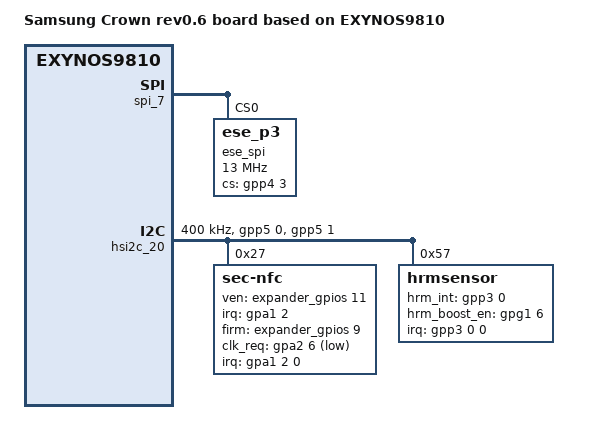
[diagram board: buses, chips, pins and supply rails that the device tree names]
/*
 * SAMSUNG EXYNOS9810 board device tree source
 *
 * Copyright (c) 2017 Samsung Electronics Co., Ltd.
 *		http://www.samsung.com
 *
 * This program is free software; you can redistribute it and/or modify
 * it under the terms of the GNU General Public License version 2 as
 * published by the Free Software Foundation.
 */

/dts-v1/;
#include "exynos9810-crownlte_common.dtsi"
#include "battery_data_crownlte_eur_23.dtsi"
#include "exynos9810-crownlte_fingerprint_19.dtsi"
#include "exynos9810-starlte_mst_01.dtsi"
#include "exynos9810-starlte_if-pmic-max77705.dtsi"
#include "exynos9810-crownlte_eur_open_gpio_01.dtsi"

/ {
	model = "Samsung Crown rev0.6 board based on EXYNOS9810";
	model_info-chip = <9810>;
	model_info-platform = "android";
	model_info-subtype = "samsung";
	model_info-hw_rev = <26>;
	model_info-hw_rev_end = <255>;
	compatible = "Samsung, Crown rev0.6", "Samsung,EXYNOS9810";

	pinctrl@10830000 {
		spi7_bus_suspend: spi7-bus-suspend {
			samsung,pins = "gpp4-2", "gpp4-1", "gpp4-0";
			samsung,pin-function = <0>;	/* INPUT */
			samsung,pin-pud = <1>;		/* DOWN */
			samsung,pin-drv = <0>;
		};
		spi7_cs_suspend: spi7-cs-suspend {
			samsung,pins = "gpp4-3";
			samsung,pin-function = <0>;	/* INPUT */
			samsung,pin-pud = <1>;		/* DOWN */
			samsung,pin-drv = <0>;
		};
	};
	/* SPI USI_PERIC1_USI06_SPI */
	spi_7: spi@108A0000 {
		status = "okay";
		/delete-property/ pinctrl-names;
		/delete-property/ pinctrl-0;

		ese_spi@0 {
			compatible = "ese_p3";
			reg = <0>;
			spi-max-frequency = <13000000>;
			gpio-controller;
			#gpio-cells = <2>;

			p3-vdd-1p8= "VDD_ESE_1P8";

			clocks = <&clock GATE_USI06>, <&clock USI06>;
			clock-names = "pclk", "sclk";
			ese_p3,cs-gpio = <&gpp4 3 0>;

			pinctrl-names = "ese_active", "ese_suspend";
			pinctrl-0 = <&spi7_bus &spi7_cs>;
			pinctrl-1 = <&spi7_bus_suspend &spi7_cs_suspend>;

			controller-data {
				samsung,spi-feedback-delay = <0>;
				samsung,spi-chip-select-mode = <0>;
			};
		};
	};

	/* USI08_USI */
	hsi2c_20: hsi2c@108E0000 {
		gpios = <&gpp5 0 0 &gpp5 1 0>;
		status = "okay";
		clock-frequency = <400000>;
		sec-nfc@27 {
			compatible = "sec-nfc";
			reg = <0x27>;

			interrupts = <2 0 0>;
			interrupt-parent = <&gpa1>;

			sec-nfc,ven-gpio = <&expander_gpios 11 0>;
			sec-nfc,irq-gpio = <&gpa1 2 0>;
			sec-nfc,firm-gpio = <&expander_gpios 9 0>;
			sec-nfc,clk_req-gpio = <&gpa2 6 0xf>;
			sec-nfc,clk_use = <2>;
			sec-nfc,nfc_pvdd = "VDD_NFC_1P8";

			clocks = <&clock OSC_NFC>;
			clock-names = "oscclk_nfc";
			sec-nfc,nfc_ap_clk;
			sec-nfc,ldo_control;
		};

		hrmsensor@57 {
			compatible = "hrmsensor";
			reg = <0x57>;
			interrupt-parent = <&gpp3>;
			interrupts = <0 0 0>;
			pinctrl-names = "default", "sleep", "idle";
			pinctrl-0 = <&hrm_irq &hrm_en>;
			pinctrl-1 = <&hrm_irqsleep &hrm_ensleep>;
			pinctrl-2 = <&hrm_irqidle &hrm_enidle>;
			hrmsensor,hrm_int-gpio = <&gpp3 0 0>;
			hrmsensor,hrm_boost_en-gpio = <&gpg1 6 0>;
			hrmsensor,vdd_1p8 = "HRM_1.8V_AP";
			hrmsensor,i2c_1p8 = "VDD_NFC_1P8";
			hrmsensor,thd = <100000 100000>;
			hrmsensor,init_curr = <0x46 0x41 0x28 0x3c>;
		};
	};

	pinctrl@10430000 {
		hrm_en: hrm-en {
			samsung,pins = "gpg1-6";
			samsung,pin-function = <0>;
			samsung,pin-pud = <1>;
			samsung,pin-drv = <2>;
		};

		hrm_ensleep: hrm-ensleep {
			samsung,pins = "gpg1-6";
			samsung,pin-con-pdn = <2>;
			samsung,pin-pud-pdn = <1>;
		};

		hrm_enidle: hrm-enidle {
			samsung,pins = "gpg1-6";
			samsung,pin-function = <0>;
			samsung,pin-pud = <1>;
			samsung,pin-drv = <2>;
		};

		cfg_wlanen: cfg_wlanen {
			samsung,pins = "gpg0-5";
			samsung,pin-function = <1>;
			samsung,pin-pud = <0>;
			samsung,pin-drv = <3>;
			samsung,pin-con-pdn = <3>;
		};
	};

	spi_20: spi@13AC0000{
		#address-cells = <1>;
		#size-cells = <0>;

			port@0 {
				reg = <0>;

				endpoint@0 {
					slave-mode;
					remote-endpoint = <43>;
					linux,phandle = <48>;
					phandle = <48>;
				};
			};

			port@1 {
				reg = <0>;

				endpoint@0 {
					remote-endpoint = <44>;
					linux,phandle = <59>;
					phandle = <59>;
				};
			};
		};
	};

	etf1@1e005000 {
		compatible = "arm,coresight-tmc", "arm,primecell";
		arm,primecell-periphid = <1816929>;
		reg = <0 503336960 4096>;
		clocks = <26 1>;
		clock-names = "apb_pclk";

		ports {
			#address-cells = <1>;
			#size-cells = <0>;

			port@0 {
				reg = <0>;

				endpoint@0 {
					slave-mode;
					remote-endpoint = <45>;
					linux,phandle = <53>;
					phandle = <53>;
				};
			};

			port@1 {
				reg = <0>;

				endpoint@0 {
					remote-endpoint = <46>;
					linux,phandle = <60>;
					phandle = <60>;
				};
			};
		};
	};

	etr@1e00a000 {
		compatible = "arm,coresight-tmc", "arm,primecell";
		arm,primecell-periphid = <1816930>;
		reg = <0 503357440 4096>;
		clocks = <26 1>;
		clock-names = "apb_pclk";
		samsung,cs-sfr = <503365632 256>;
		samsung,q-offset = <44>;

		port {

			endpoint {
				slave-mode;
				remote-endpoint = <47>;
				linux,phandle = <58>;
				phandle = <58>;
			};
		};
	};

	funnel0@1e007000 {
		compatible = "arm,coresight-funnel", "arm,primecell";
		arm,primecell-periphid = <1816840>;
		reg = <0 503345152 4096>;
		clocks = <26 1>;
		clock-names = "apb_pclk";

		ports {
			#address-cells = <1>;
			#size-cells = <0>;

			port@0 {
				reg = <0>;

				endpoint {
					remote-endpoint = <48>;
					linux,phandle = <43>;
					phandle = <43>;
				};
			};

			port@1 {
				reg = <0>;

				endpoint {
					slave-mode;
					remote-endpoint = <49>;
					linux,phandle = <36>;
					phandle = <36>;
				};
			};

			port@2 {
				reg = <1>;

				endpoint {
					slave-mode;
					remote-endpoint = <50>;
					linux,phandle = <38>;
					phandle = <38>;
				};
			};

			port@3 {
				reg = <2>;

				endpoint {
					slave-mode;
					remote-endpoint = <51>;
					linux,phandle = <40>;
					phandle = <40>;
				};
			};

			port@4 {
				reg = <3>;

				endpoint {
					slave-mode;
					remote-endpoint = <52>;
					linux,phandle = <42>;
					phandle = <42>;
				};
			};
		};
	};

	funnel1@1e008000 {
		compatible = "arm,coresight-funnel", "arm,primecell";
		arm,primecell-periphid = <1816840>;
		reg = <0 503349248 4096>;
		clocks = <26 1>;
		clock-names = "apb_pclk";

		ports {
			#address-cells = <1>;
			#size-cells = <0>;

			port@0 {
				reg = <0>;

				endpoint {
					remote-endpoint = <53>;
					linux,phandle = <45>;
					phandle = <45>;
				};
			};

			port@1 {
				reg = <0>;

				endpoint {
					slave-mode;
					remote-endpoint = <54>;
					linux,phandle = <28>;
					phandle = <28>;
				};
			};

			port@2 {
				reg = <1>;

				endpoint {
					slave-mode;
					remote-endpoint = <55>;
					linux,phandle = <30>;
					phandle = <30>;
				};
			};

			port@3 {
				reg = <2>;

				endpoint {
					slave-mode;
					remote-endpoint = <56>;
					linux,phandle = <32>;
					phandle = <32>;
				};
			};

			port@4 {
				reg = <3>;

				endpoint {
					slave-mode;
					remote-endpoint = <57>;
					linux,phandle = <34>;
					phandle = <34>;
				};
			};
		};
	};

	funnelm@1e009000 {
		compatible = "arm,coresight-funnel", "arm,primecell";
		reg = <0 503353344 4096>;
		arm,primecell-periphid = <1816840>;
		clocks = <26 1>;
		clock-names = "apb_pclk";

		ports {
			#address-cells = <1>;
			#size-cells = <0>;

			port@0 {
				reg = <0>;

				endpoint {
					remote-endpoint = <58>;
					linux,phandle = <47>;
					phandle = <47>;
				};
			};

			port@1 {
				reg = <0>;

				endpoint {
					slave-mode;
					remote-endpoint = <59>;
					linux,phandle = <44>;
					phandle = <44>;
				};
			};

			port@2 {
				reg = <1>;

				endpoint {
					slave-mode;
					remote-endpoint = <60>;
					linux,phandle = <46>;
					phandle = <46>;
				};
			};
		};
	};

	input_booster {
		status = "okay";
		compatible = "input_booster";
		max_resource_count = [37 00];
		#address-cells = <1>;
		#size-cells = <0>;
		ib_release_values = "0,0,0,0,0,0,0";

		booster_key@1 {
			input_booster,label = "key";
			input_booster,type = <0>;	/* BOOSTER_DEVICE_KEY */
			/* Time table */
			input_booster,head_time = <500>;
			input_booster,tail_time = <500>;

			/* Frequency table */
			/* for level	:	Head, Tail */
			inputbooster,resource {
				compatible = "resource";

				resource@1 {
					resource,label = "cluster1";
					resource,value = <1066000 0>;
				};

				resource@2 {
					resource,label = "cluster0";
					resource,value = <0 0>;
				};

				resource@3 {
					resource,label = "mif";
					resource,value = <0 0>;
				};

				resource@4 {
					resource,label = "int";
					resource,value = <0 0>;
				};

				resource@5 {
					resource,label = "hmp";
					resource,value = <1 0>;
				};

				resource@6 {
					resource,label = "ucc";
					resource,value = <1 0>;
				};
			};
		};
		booster_key@2 {
			input_booster,label = "touchkey";
			input_booster,type = <1>;	/* BOOSTER_DEVICE_TOUCHKEY */
			/* Time table */
			input_booster,head_time = <0>;
			input_booster,tail_time = <200>;

			/* Frequency table */
			/* for level	:	Head, Tail */
			inputbooster,resource {
				compatible = "resource";

				resource@1 {
					resource,label = "cluster1";
					resource,value = <1066000 0>;
				};

				resource@2 {
					resource,label = "cluster0";
					resource,value = <0 0>;
				};

				resource@3 {
					resource,label = "mif";
					resource,value = <0 0>;
				};

				resource@4 {
					resource,label = "int";
					resource,value = <0 0>;
				};

				resource@5 {
					resource,label = "hmp";
					resource,value = <1 0>;
				};

				resource@6 {
					resource,label = "ucc";
					resource,value = <1 0>;
				};
			};
		};
		booster_key@3 {
			input_booster,label = "touch";
			input_booster,type = <2>;	/* BOOSTER_DEVICE_TOUCH */
			/* Time table */
			input_booster,head_time = <130>;
			input_booster,tail_time = <500>;

			/* Frequency table */
			/* for level	:	Head, Tail */
			inputbooster,resource {
				compatible = "resource";

				resource@1 {
					resource,label = "cluster1";
					resource,value = <1066000 858000>;
				};

				resource@2 {
					resource,label = "cluster0";
					resource,value = <832000 832000>;
				};

				resource@3 {
					resource,label = "mif";
					resource,value = <0 0>;
				};

				resource@4 {
					resource,label = "int";
					resource,value = <0 0>;
				};

				resource@5 {
					resource,label = "hmp";
					resource,value = <1 1>;
				};

				resource@6 {
					resource,label = "ucc";
					resource,value = <1 1>;
				};
			};
		};
		booster_key@4 { // Input Booster +
			input_booster,label = "multitouch";
			input_booster,type = <3>;	/* BOOSTER_DEVICE_MULTITOUCH */
			/* Time table */
			input_booster,head_time = <1000>;
			input_booster,tail_time = <500>;

			/* Frequency table */
			/* for level	:	Head, Tail */
			inputbooster,resource {
				compatible = "resource";

				resource@1 {
					resource,label = "cluster1";
					resource,value = <1066000 858000>;
				};

				resource@2 {
					resource,label = "cluster0";
					resource,value = <832000 832000>;
				};

				resource@3 {
					resource,label = "mif";
					resource,value = <0 0>;
				};

				resource@4 {
					resource,label = "int";
					resource,value = <0 0>;
				};

				resource@5 {
					resource,label = "hmp";
					resource,value = <1 1>;
				};

				resource@6 {
					resource,label = "ucc";
					resource,value = <1 1>;
				};
			};
		};
		booster_key@5 {
			input_booster,label = "keyboard";
			input_booster,type = <4>;	/* BOOSTER_DEVICE_KEYBOARD */
			/* Time table */
			input_booster,head_time = <130>;
			input_booster,tail_time = <0>;

			/* Frequency table */
			/* for level	:	Head, Tail */
			inputbooster,resource {
				compatible = "resource";

				resource@1 {
					resource,label = "cluster1";
					resource,value = <1066000 858000>;
				};

				resource@2 {
					resource,label = "cluster0";
					resource,value = <832000 832000>;
				};

				resource@3 {
					resource,label = "mif";
					resource,value = <0 0>;
				};

				resource@4 {
					resource,label = "int";
					resource,value = <0 0>;
				};

				resource@5 {
					resource,label = "hmp";
					resource,value = <1 1>;
				};

				resource@6 {
					resource,label = "ucc";
					resource,value = <1 1>;
				};
			};
		};
		booster_key@6 {
			input_booster,label = "mouse";
			input_booster,type = <5>;	/* BOOSTER_DEVICE_MOUSE */
			/* Time table */
			input_booster,head_time = <130>;
			input_booster,tail_time = <500>;

			/* Frequency table */
			/* for level	:	Head, Tail */
			inputbooster,resource {
				compatible = "resource";

				resource@1 {
					resource,label = "cluster1";
					resource,value = <1066000 858000>;
				};

				resource@2 {
					resource,label = "cluster0";
					resource,value = <832000 832000>;
				};

				resource@3 {
					resource,label = "mif";
					resource,value = <0 0>;
				};

				resource@4 {
					resource,label = "int";
					resource,value = <0 0>;
				};

				resource@5 {
					resource,label = "hmp";
					resource,value = <1 1>;
				};

				resource@6 {
					resource,label = "ucc";
					resource,value = <1 1>;
				};
			};
		};
		booster_key@7 {
			input_booster,label = "mouse_wheel";
			input_booster,type = <6>;	/* BOOSTER_DEVICE_MOUSE */
			/* Time table */
			input_booster,head_time = <130>;
			input_booster,tail_time = <0>;

			/* Frequency table */
			/* for level	:	Head, Tail */
			inputbooster,resource {
				compatible = "resource";

				resource@1 {
					resource,label = "cluster1";
					resource,value = <1066000 858000>;
				};

				resource@2 {
					resource,label = "cluster0";
					resource,value = <832000 832000>;
				};

				resource@3 {
					resource,label = "mif";
					resource,value = <0 0>;
				};

				resource@4 {
					resource,label = "int";
					resource,value = <0 0>;
				};

				resource@5 {
					resource,label = "hmp";
					resource,value = <1 1>;
				};

				resource@6 {
					resource,label = "ucc";
					resource,value = <1 1>;
				};
			};
		};
		booster_key@8 {
			input_booster,label = "pen_hover";
			input_booster,type = <7>;	/* BOOSTER_DEVICE_MOUSE */
			/* Time table */
			input_booster,head_time = <130>;
			input_booster,tail_time = <500>;

			/* Frequency table */
			/* for level	:	Head, Tail */
			inputbooster,resource {
				compatible = "resource";

				resource@1 {
					resource,label = "cluster1";
					resource,value = <1066000 858000>;
				};

				resource@2 {
					resource,label = "cluster0";
					resource,value = <832000 832000>;
				};

				resource@3 {
					resource,label = "mif";
					resource,value = <0 0>;
				};

				resource@4 {
					resource,label = "int";
					resource,value = <0 0>;
				};

				resource@5 {
					resource,label = "hmp";
					resource,value = <1 1>;
				};

				resource@6 {
					resource,label = "ucc";
					resource,value = <1 1>;
				};
			};
		};
		booster_key@9 {
			input_booster,label = "pen";
			input_booster,type = <8>;	/* BOOSTER_DEVICE_MOUSE */
			/* Time table */
			input_booster,head_time = <200>;
			input_booster,tail_time = <600>;

			/* Frequency table */
			/* for level	:	Head, Tail */
			inputbooster,resource {
				compatible = "resource";

				resource@1 {
					resource,label = "cluster1";
					resource,value = <1170000 858000>;
				};

				resource@2 {
					resource,label = "cluster0";
					resource,value = <832000 832000>;
				};

				resource@3 {
					resource,label = "mif";
					resource,value = <0 0>;
				};

				resource@4 {
					resource,label = "int";
					resource,value = <0 0>;
				};

				resource@5 {
					resource,label = "hmp";
					resource,value = <1 1>;
				};

				resource@6 {
					resource,label = "ucc";
					resource,value = <1 1>;
				};
			};
		};
		booster_key@10 {
			input_booster,label = "key_two";
			input_booster,type = <9>;	/* BOOSTER_DEVICE_KEY */
			/* Time table */
			input_booster,head_time = <700>;
			input_booster,tail_time = <700>;

			/* Frequency table */
			/* for level	:	Head, Tail */
			inputbooster,resource {
				compatible = "resource";

				resource@1 {
					resource,label = "cluster1";
					resource,value = <1469000 0>;
				};

				resource@2 {
					resource,label = "cluster0";
					resource,value = <1053000 0>;
				};

				resource@3 {
					resource,label = "mif";
					resource,value = <0 0>;
				};

				resource@4 {
					resource,label = "int";
					resource,value = <0 0>;
				};

				resource@5 {
					resource,label = "hmp";
					resource,value = <1 1>;
				};

				resource@6 {
					resource,label = "ucc";
					resource,value = <1 1>;
				};
			};
		}; // Input Booster -
	};

	exynos-snapshot {
		compatible = "samsung,exynos-snapshot";
		#address-cells = <1>;
		#size-cells = <1>;
		use_multistage_wdt_irq = <497>;
	};

	aliases {
		pinctrl0 = "/pinctrl@14050000";
		pinctrl1 = "/pinctrl@17C60000";
		pinctrl2 = "/pinctrl@13A80000";
		pinctrl3 = "/pinctrl@14220000";
		pinctrl4 = "/pinctrl@11050000";
		pinctrl5 = "/pinctrl@11430000";
		pinctrl6 = "/pinctrl@10430000";
		pinctrl7 = "/pinctrl@10830000";
		pinctrl8 = "/pinctrl@13880000";
		mshc2 = "/dwmmc2@11500000";
		usi0 = "/usi@10411004";
		usi1 = "/usi@10411008";
		usi2 = "/usi@1041100c";
		usi3 = "/usi@10411010";
		usi4 = "/usi@10411014";
		usi5 = "/usi@10411018";
		usi6 = "/usi@1041101C";
		usi7 = "/usi@10411020";
		usi8 = "/usi@10411024";
		usi9 = "/usi@10411028";
		usi10 = "/usi@1041102C";
		usi11 = "/usi@10411030";
		usi12 = "/usi@1081101C";
		usi13 = "/usi@10811020";
		usi14 = "/usi@10811024";
		usi15 = "/usi@10811028";
		usi16 = "/usi@1081102C";
		usi17 = "/usi@10811030";
		usi18 = "/usi@10811034";
		usi19 = "/usi@10811038";
		usi20 = "/usi@1081103C";
		usi21 = "/usi@10811040";
		usi22 = "/usi@10811044";
		usi23 = "/usi@10811048";
		usi24 = "/usi@10411034";
		usi25 = "/usi@10411038";
		usi26 = "/usi@1041103C";
		usi27 = "/usi@10411040";
		usi28 = "/usi@10411044";
		usi29 = "/usi@10411048";
		usi30 = "/usi@14212000";
		usi31 = "/usi@14212004";
		usi32 = "/usi@14212010";
		usi33 = "/usi@14212014";
		usi34 = "/usi@14212020";
		usi35 = "/usi@14212024";
		usi36 = "/usi@14212030";
		usi37 = "/usi@14212034";
		usi38 = "/usi@13A13000";
		usi39 = "/usi@13A13008";
		usi40 = "/usi@13A13004";
		usi41 = "/usi@13A1300C";
		hsi2c0 = "/hsi2c@10860000";
		hsi2c1 = "/hsi2c@10870000";
		hsi2c2 = "/hsi2c@10880000";
		hsi2c3 = "/hsi2c@10890000";
		hsi2c4 = "/hsi2c@10450000";
		hsi2c5 = "/hsi2c@10460000";
		hsi2c6 = "/hsi2c@10470000";
		hsi2c7 = "/hsi2c@10480000";
		hsi2c8 = "/hsi2c@10490000";
		hsi2c9 = "/hsi2c@104A0000";
		hsi2c10 = "/hsi2c@104B0000";
		hsi2c11 = "/hsi2c@104C0000";
		hsi2c12 = "/hsi2c@104D0000";
		hsi2c13 = "/hsi2c@104E0000";
		hsi2c14 = "/hsi2c@104F0000";
		hsi2c15 = "/hsi2c@10500000";
		hsi2c16 = "/hsi2c@108A0000";
		hsi2c17 = "/hsi2c@108B0000";
		hsi2c18 = "/hsi2c@108C0000";
		hsi2c19 = "/hsi2c@108D0000";
		hsi2c20 = "/hsi2c@108E0000";
		hsi2c21 = "/hsi2c@108F0000";
		hsi2c22 = "/hsi2c@10900000";
		hsi2c23 = "/hsi2c@10910000";
		hsi2c24 = "/hsi2c@10920000";
		hsi2c25 = "/hsi2c@10930000";
		hsi2c26 = "/hsi2c@10940000";
		hsi2c27 = "/hsi2c@10950000";
		hsi2c28 = "/hsi2c@10520000";
		hsi2c29 = "/hsi2c@10530000";
		hsi2c30 = "/hsi2c@10540000";
		hsi2c31 = "/hsi2c@10550000";
		hsi2c32 = "/hsi2c@10560000";
		hsi2c33 = "/hsi2c@10570000";
		hsi2c34 = "/hsi2c@14300000";
		hsi2c35 = "/hsi2c@14310000";
		hsi2c36 = "/hsi2c@14320000";
		hsi2c37 = "/hsi2c@14330000";
		hsi2c38 = "/hsi2c@14340000";
		hsi2c39 = "/hsi2c@14350000";
		hsi2c40 = "/hsi2c@14360000";
		hsi2c41 = "/hsi2c@14370000";
		hsi2c42 = "/hsi2c@13AC0000";
		hsi2c43 = "/hsi2c@13AD0000";
		hsi2c44 = "/hsi2c@13AE0000";
		hsi2c45 = "/hsi2c@13AF0000";
		spi0 = "/spi@10850000";
		spi1 = "/spi@10450000";
		spi2 = "/spi@10470000";
		spi3 = "/spi@10490000";
		spi4 = "/spi@104B0000";
		spi5 = "/spi@104D0000";
		spi6 = "/spi@104F0000";
		spi7 = "/spi@108A0000";
		spi8 = "/spi@108C0000";
		spi9 = "/spi@108E0000";
		spi10 = "/spi@10900000";
		spi11 = "/spi@10920000";
		spi12 = "/spi@10940000";
		spi13 = "/spi@10520000";
		spi14 = "/spi@10540000";
		spi15 = "/spi@10560000";
		spi16 = "/spi@14300000";
		spi17 = "/spi@14320000";
		spi18 = "/spi@14340000";
		spi19 = "/spi@14360000";
		spi20 = "/spi@13AC0000";
		spi21 = "/spi@13AE0000";
		ecduart = "/uart@10440000";
		uart0 = "/uart@10440000";
		dpp0 = "/dpp@369233920";
		dpp1 = "/dpp@369238016";
		dpp2 = "/dpp@369242112";
		dpp3 = "/dpp@369246208";
		dpp4 = "/dpp@369250304";
		dpp5 = "/dpp@369254400";
		dsim0 = "/dsim@369623040";
		displayport = "/displayport@285802496";
		decon0 = "/decon_f@369295360";
		decon2 = "/decon_t@369426432";
		uart1 = "/uart@10840000";
		uart2 = "/uart@10450000";
		uart3 = "/uart@10470000";
		uart4 = "/uart@10490000";
		uart5 = "/uart@104B0000";
		uart6 = "/uart@104D0000";
		uart7 = "/uart@104F0000";
		uart8 = "/uart@108A0000";
		uart9 = "/uart@108C0000";
		uart10 = "/uart@108E0000";
		uart11 = "/uart@10900000";
		uart12 = "/uart@10920000";
		uart13 = "/uart@10940000";
		uart14 = "/uart@10520000";
		uart15 = "/uart@10540000";
		uart16 = "/uart@10560000";
		uart17 = "/uart@14300000";
		uart18 = "/uart@14320000";
		uart19 = "/uart@14340000";
		uart20 = "/uart@14360000";
		uart21 = "/uart@13AC0000";
		uart22 = "/uart@13AE0000";
		mfc0 = "/mfc0@178D0000";
		scaler0 = "/scaler@17710000";
		panel0 = "/panel_drv@001";
	};

	chipid@10000000 {
		compatible = "samsung,exynos9810-chipid";
		reg = <0 268435456 256>;
	};

	arm-pmu {
		compatible = "arm,armv8-pmuv3";
		interrupts = <0 167 4 0 168 4 0 169 4 0 170 4 0 144 4 0 145 4 0 146 4 0 147 4>;
		interrupt-affinity = <35 37 39 41 27 29 31 33>;
	};

	cpus {
		#address-cells = <2>;
		#size-cells = <0>;

		ehmp {
			top-overutil = <4294967295 4294967295 4294967295 4294967295 4294967295 4294967295 4294967295 4294967295>;
			bot-overutil = <35 35 35 35 35 35 35 35>;
			up-threshold = <550>;
			down-threshold = <290>;
			min-residency-us = <8192>;
		};

		cpu@0000 {
			device_type = "cpu";
			compatible = "arm,ananke", "arm,armv8";
			reg = <0 0>;
			enable-method = "psci";
			cpu-idle-states = <61>;
			sched-energy-costs = <62 63>;
			linux,phandle = <27>;
			phandle = <27>;
		};

		cpu@0001 {
			device_type = "cpu";
			compatible = "arm,ananke", "arm,armv8";
			reg = <0 1>;
			enable-method = "psci";
			cpu-idle-states = <61>;
			sched-energy-costs = <62 63>;
			linux,phandle = <29>;
			phandle = <29>;
		};

		cpu@0002 {
			device_type = "cpu";
			compatible = "arm,ananke", "arm,armv8";
			reg = <0 2>;
			enable-method = "psci";
			cpu-idle-states = <61>;
			sched-energy-costs = <62 63>;
			linux,phandle = <31>;
			phandle = <31>;
		};

		cpu@0003 {
			device_type = "cpu";
			compatible = "arm,ananke", "arm,armv8";
			reg = <0 3>;
			enable-method = "psci";
			cpu-idle-states = <61>;
			sched-energy-costs = <62 63>;
			linux,phandle = <33>;
			phandle = <33>;
		};

		cpu@0100 {
			device_type = "cpu";
			compatible = "arm,meerkat", "arm,armv8";
			reg = <0 256>;
			enable-method = "psci";
			cpu-idle-states = <64>;
			sched-energy-costs = <65 66>;
			linux,phandle = <35>;
			phandle = <35>;
		};

		cpu@0101 {
			device_type = "cpu";
			compatible = "arm,meerkat", "arm,armv8";
			reg = <0 257>;
			enable-method = "psci";
			cpu-idle-states = <64>;
			sched-energy-costs = <65 66>;
			linux,phandle = <37>;
			phandle = <37>;
		};

		cpu@0102 {
			device_type = "cpu";
			compatible = "arm,meerkat", "arm,armv8";
			reg = <0 258>;
			enable-method = "psci";
			cpu-idle-states = <64>;
			sched-energy-costs = <65 66>;
			linux,phandle = <39>;
			phandle = <39>;
		};

		cpu@0103 {
			device_type = "cpu";
			compatible = "arm,meerkat", "arm,armv8";
			reg = <0 259>;
			enable-method = "psci";
			cpu-idle-states = <64>;
			sched-energy-costs = <65 66>;
			linux,phandle = <41>;
			phandle = <41>;
		};

		idle-states {
			entry-method = "arm,psci";

			bootcl-cpu-sleep {
				idle-state-name = "c2";
				compatible = "exynos,idle-state";
				arm,psci-suspend-param = <65536>;
				entry-latency-us = <70>;
				exit-latency-us = <160>;
				min-residency-us = <2000>;
				status = "okay";
				linux,phandle = <61>;
				phandle = <61>;
			};

			nobootcl-cpu-sleep {
				idle-state-name = "c2";
				compatible = "exynos,idle-state";
				arm,psci-suspend-param = <65536>;
				entry-latency-us = <235>;
				exit-latency-us = <220>;
				min-residency-us = <3500>;
				status = "okay";
				linux,phandle = <64>;
				phandle = <64>;
			};
		};

		energy-costs {

			core-core0 {
				busy-cost-data = <
					425 350
					471 384
					517 429
					558 556
					650 642
					701 731
					747 827
					793 986
					885 1088
					932 1228
					1024 1484
				>;
				busy-cost-data2 = <
					549 310
					608 350
					667 384
					719 429
					838 556
					905 642
					964 731
					1024 827
				>;
				idle-cost-data = <200 0 0>;
				linux,phandle = <65>;
				phandle = <65>;
			};

			core-core1 {
				busy-cost-data = <
					78 15
					103 22
					122 30
					142 38
					163 48
					181 58
					215 78
					251 108
					290 150
					309 172
					335 220
				>;
				idle-cost-data = <200 0 0>;
				linux,phandle = <62>;
				phandle = <62>;
			};

			cluster-core0 {
				busy-cost-data = <
					425 105
					471 116
					517 129
					558 168
					650 194
					701 221
					747 250
					793 298
					885 329
					932 371
					1024 448
				>;
				busy-cost-data2 = <
					549 93
					608 123
					667 151
					719 181
					838 268
					905 325
					964 393
					1024 463
				>;
				idle-cost-data = <768 768 0>;
				linux,phandle = <66>;
				phandle = <66>;
			};

			cluster-core1 {
				busy-cost-data = <
					78 3
					103 4
					122 7
					142 9
					163 12
					181 18
					215 26
					251 43
					290 53
					309 58
					335 65
				>;
				idle-cost-data = <200 200 0>;
				linux,phandle = <63>;
				phandle = <63>;
			};
		};
	};

	exynos-pm {
		compatible = "samsung,exynos-pm";
		reg = <0 335872000 4096 0 269488640 256>;
		reg-names = "gpio_alive_base", "gicd_ispendrn_base";
		num-eint = <34>;
		num-gic = <16>;
		suspend_mode_idx = <8>;
		suspend_psci_idx = <133>;
		cp_call_mode_idx = <10>;
		cp_call_psci_idx = <133>;
		usbl2_suspend_available = <1>;
		usbl2_suspend_mode_idx = <12>;
		extra_wakeup_stat = <1600>;
		wakeup_stat_irqno = <0 31 32 33 34 253 254 0 0 0 0 249 0 0 466 0 94 95 0 68 440 441 442 75 69 74 71 0 0 70 0 0>;

		extra_wakeup_stat_irqno {

			wakeup_stat4 {
				irqno = <100 98 35 422 422 108>;
			};
		};
	};

	exynos-powermode {
		cpd_residency = <10000>;
		sicd_residency = <10000>;
		cpd_enabled = <1>;
		sicd_enabled = <1>;
		idle-ip = "10510000.pwm", "14230000.adc", "10860000.hsi2c", "10870000.hsi2c", "10880000.hsi2c", "10890000.hsi2c", "10450000.hsi2c", "10460000.hsi2c", "10470000.hsi2c", "10480000.hsi2c", "10490000.hsi2c", "104a0000.hsi2c", "104b0000.hsi2c", "104c0000.hsi2c", "104d0000.hsi2c", "104e0000.hsi2c", "104f0000.hsi2c", "10500000.hsi2c", "108a0000.hsi2c", "108b0000.hsi2c", "108c0000.hsi2c", "108d0000.hsi2c", "108e0000.hsi2c", "108f0000.hsi2c", "10900000.hsi2c", "10910000.hsi2c", "10920000.hsi2c", "10930000.hsi2c", "10940000.hsi2c", "10950000.hsi2c", "10520000.hsi2c", "10530000.hsi2c", "10540000.hsi2c", "10550000.hsi2c", "10560000.hsi2c", "10570000.hsi2c", "14300000.hsi2c", "14310000.hsi2c", "14320000.hsi2c", "14330000.hsi2c", "14340000.hsi2c", "14350000.hsi2c", "14360000.hsi2c", "14370000.hsi2c", "10850000.spi", "10450000.spi", "10470000.spi", "10490000.spi", "104b0000.spi", "104d0000.spi", "104f0000.spi", "108a0000.spi", "108c0000.spi", "108e0000.spi", "10900000.spi", "10920000.spi", "10940000.spi", "10520000.spi", "10540000.spi", "10560000.spi", "14300000.spi", "14320000.spi", "14340000.spi", "14360000.spi", "11120000.ufs", "11500000.dwmmc2", "10c00000.usb", "141a0000.mailbox", "116a0000.pcie0", "116b0000.pcie1", "pd-aud", "pd-dcf", "pd-dcpost", "pd-dcrd", "pd-dpu", "pd-dspm", "pd-dsps", "pd-g2d", "pd-embedded_g3d", "pd-isppre", "pd-isphq", "pd-isplp", "pd-iva", "pd-mfc", "pd-vts", "11090000.displayport", "bluetooth";
		fix-idle-ip = "acpm_dvfs";
		fix-idle-ip-index = <96>;

		idle_ip_mask {

			SYS_SICD {
				mode-index = <0>;
				ref-idle-ip = <0 1 2 3 4 5 6 7 8 9 10 11 12 13 14 15 16 17 18 19 20 21 22 23 24 25 26 27 28 29 30 31 32 33 34 35 36 37 38 39 40 41 42 43 44 45 46 47 48 49 50 51 52 53 54 55 56 57 58 59 60 61 62 63 64 65 66 67 68 69 74 75 76 77 78 79 80 81 82 83 85 86 96>;
				linux,phandle = <496>;
				phandle = <496>;
			};
		};

		wakeup-masks {

			wakeup-mask {
				mask = <1073742304 0 0 0 0 0 0 0 3490676350 1343192702 1343192702 0 3490545278>;
				reg-offset = <1552>;
			};

			wakeup-mask2 {
				mask = <0 0 0 0 0 0 0 0 4294902015 4294902015 4294902015 0 4294902015>;
				reg-offset = <1556>;
			};

			wakeup-mask3 {
				mask = <0 0 0 0 0 0 0 0 4294902015 4294902015 4294902015 0 4294902015>;
				reg-offset = <1560>;
			};

			wakeup-mask4 {
				mask = <0 0 0 0 0 0 0 0 0 0 0 0 0>;
				reg-offset = <1604>;
			};
		};
	};

	psci {
		compatible = "arm,psci";
		method = "smc";
		cpu_suspend = <3288334337>;
		cpu_off = <2214592514>;
		cpu_on = <3288334339>;
	};

	exynos-ocp {
		compatible = "samsung,exynos-ocp";
		interrupts = <0 181 0>;
		sibling-cpus = "4-7";
		down-step = <1>;
		max-freq-wo-ocp = <1794000>;
		release-mode = <1>;
		release-threshold = <50>;
		release-duration = <15>;
	};

	exynos-pmu {
		compatible = "samsung,exynos-pmu";
		samsung,syscon-phandle = <67>;
	};

	system-controller@14060000 {
		compatible = "samsung,exynos9810-pmu", "syscon";
		reg = <0 335937536 65536>;
		linux,phandle = <67>;
		phandle = <67>;
	};

	interrupt-controller@10100000 {
		compatible = "arm,cortex-a15-gic", "arm,cortex-a9-gic";
		#interrupt-cells = <3>;
		#address-cells = <0>;
		interrupt-controller;
		reg = <0 269488128 4096 0 269492224 4096 0 269500416 8192 0 269508608 8192>;
		interrupts = <1 9 3844>;
		linux,phandle = <1>;
		phandle = <1>;
	};

	timer {
		compatible = "arm,armv8-timer";
		interrupts = <1 13 65288 1 14 65288 1 11 65288 1 10 65288>;
		clock-frequency = <26000000>;
		use-clocksource-only;
		use-physical-timer;
	};

	clock-controller@363331584 {
		compatible = "samsung,exynos9810-clock";
		reg = <0 363331584 32768>;
		#clock-cells = <1>;
		linux,phandle = <26>;
		phandle = <26>;
	};

	mct@10040000 {
		compatible = "samsung,exynos4210-mct";
		reg = <0 268697600 2048>;
		interrupt-controller;
		#interrupt-cells = <1>;
		interrupt-parent = <68>;
		interrupts = <0 1 2 3 4 5 6 7 8 9 10 11>;
		clocks = <26 1 26 152>;
		clock-names = "fin_pll", "mct";
		use-clockevent-only;

		mct-map {
			#interrupt-cells = <1>;
			#address-cells = <0>;
			#size-cells = <0>;
			interrupt-map = <0 1 0 466 0 1 1 0 467 0 2 1 0 468 0 3 1 0 469 0 4 1 0 470 0 5 1 0 471 0 6 1 0 472 0 7 1 0 473 0 8 1 0 474 0 9 1 0 475 0 10 1 0 476 0 11 1 0 477 0>;
			linux,phandle = <68>;
			phandle = <68>;
		};
	};

	amba {
		#address-cells = <2>;
		#size-cells = <1>;
		compatible = "arm,amba-bus";
		interrupt-parent = <1>;
		ranges;

		pdma0@1A2E0000 {
			compatible = "arm,pl330", "arm,primecell";
			reg = <0 439222272 4096>;
			interrupts = <0 92 0>;
			clocks = <26 1000>;
			clock-names = "apb_pclk";
			#dma-cells = <1>;
			#dma-channels = <8>;
			#dma-requests = <32>;
			#dma-multi-irq = <1>;
			dma-arwrapper = <439239680 439239712 439239744 439239776 439239808 439239840 439239872 439239904>;
			dma-awwrapper = <439239684 439239716 439239748 439239780 439239812 439239844 439239876 439239908>;
			dma-instwrapper = <439239936>;
			dma-mask-bit = <36>;
			coherent-mask-bit = <36>;
			linux,phandle = <79>;
			phandle = <79>;
		};
	};

	mali@17500000 {
		compatible = "arm,mali";
		reg = <0 391118848 20480>;
		interrupts = <0 282 0 0 281 0 0 283 0>;
		interrupt-names = "JOB", "MMU", "GPU";
		g3d_cmu_cal_id = <184811524>;
		samsung,power-domain = <21>;
		g3d_genpd_name = "pd-embedded_g3d";
		#cooling-cells = <2>;
		governor = "interactive";
		interactive_info = <338000 94 0>;
		gpu_dvfs_table_size = <6 7>;
		gpu_dvfs_table = <  572000    78  100   5  1794000        0      0
		                    546000    78   99   1  1794000        0      0
		                    455000    78   85   1  1539000        0      0
		                    338000    78   85   1  1352000        0      0
		                    299000    78   85   1  1014000        0      0
		                    260000    78   85   1   421000        0      0 >;
		gpu_sustainable_info = <0 0 0 0 0>;
		gpu_pmqos_cpu_cluster_num = <2>;
		gpu_pmu_status_reg_offset = <16452>;
		gpu_pmu_status_local_pwr_mask = <15>;
		gpu_max_clock = <572000>;
		gpu_max_clock_limit = <572000>;
		gpu_min_clock = <260000>;
		gpu_dvfs_start_clock = <260000>;
		gpu_dvfs_bl_config_clock = <260000>;
		gpu_default_voltage = <800000>;
		gpu_cold_minimum_vol = <0>;
		gpu_voltage_offset_margin = <37500>;
		gpu_tmu_control = <1>;
		gpu_temp_throttling_level_num = <6>;
		gpu_temp_throttling = <572000 546000 455000 338000 260000 260000>;
		gpu_power_coeff = <625>;
		gpu_dvfs_time_interval = <5>;
		gpu_default_wakeup_lock = <1>;
		gpu_dynamic_abb = <0>;
		gpu_early_clk_gating = <0>;
		gpu_dvs = <0>;
		gpu_inter_frame_pm = <0>;
		gpu_perf_gathering = <0>;
		gpu_runtime_pm_delay_time = <50>;
		gpu_dvfs_polling_time = <30>;
		gpu_pmqos_int_disable = <1>;
		gpu_pmqos_mif_max_clock = <1794000>;
		gpu_pmqos_mif_max_clock_base = <572000>;
		gpu_cl_dvfs_start_base = <455000>;
		gpu_debug_level = <3>;
		gpu_trace_level = <8>;
		gpu_mo_min_clock = <455000>;
		gpu_boost_gpu_min_lock = <0>;
		gpu_boost_egl_min_lock = <1872000>;
		gpu_vk_boost_max_lock = <338000>;
		gpu_vk_boost_mif_min_lock = <1794000>;
		gpu_bts_support = <1>;
		gpu_asv_cali_lock_val = <0>;
		gpu_set_pmu_duration_reg = <0>;
		gpu_set_pmu_duration_val = <0>;
		linux,phandle = <348>;
		phandle = <348>;
	};

	ITMON@0 {
		compatible = "samsung,exynos-itmon";
		interrupts = <0 82 0 0 122 0 0 126 0 0 83 0 0 127 0 0 81 0>;
	};

	dpp@369233920 {
		compatible = "samsung,exynos9-dpp";
		#pb-id-cells = <3>;
		reg = <0 369233920 4096 0 369561600 4096 0 369557504 272>;
		interrupts = <0 197 0 0 204 0>;
		samsung,power-domain = <13>;
		linux,phandle = <497>;
		phandle = <497>;
	};

	dpp@369238016 {
		compatible = "samsung,exynos9-dpp";
		#pb-id-cells = <3>;
		reg = <0 369238016 4096 0 369565696 4096>;
		interrupts = <0 198 0 0 205 0>;
		samsung,power-domain = <13>;
		linux,phandle = <498>;
		phandle = <498>;
	};

	dpp@369242112 {
		compatible = "samsung,exynos9-dpp";
		#pb-id-cells = <3>;
		reg = <0 369242112 4096 0 369569792 4096>;
		interrupts = <0 199 0 0 206 0>;
		samsung,power-domain = <13>;
		linux,phandle = <499>;
		phandle = <499>;
	};

	dpp@369246208 {
		compatible = "samsung,exynos9-dpp";
		#pb-id-cells = <3>;
		reg = <0 369246208 4096 0 369573888 4096>;
		interrupts = <0 200 0 0 207 0>;
		samsung,power-domain = <13>;
		linux,phandle = <500>;
		phandle = <500>;
	};

	dpp@369250304 {
		compatible = "samsung,exynos9-dpp";
		#pb-id-cells = <3>;
		reg = <0 369250304 4096 0 369577984 4096>;
		interrupts = <0 201 0 0 208 0>;
		samsung,power-domain = <13>;
		linux,phandle = <501>;
		phandle = <501>;
	};

	dpp@369254400 {
		compatible = "samsung,exynos9-dpp";
		#pb-id-cells = <3>;
		reg = <0 369254400 4096 0 369582080 4096>;
		interrupts = <0 202 0 0 209 0>;
		samsung,power-domain = <13>;
		linux,phandle = <502>;
		phandle = <502>;
	};

	disp_ss@369164288 {
		compatible = "samsung,exynos9-disp_ss";
		reg = <0 369168384 16>;
		linux,phandle = <503>;
		phandle = <503>;
	};

	phy_m4s4top_dsi0@370540544 {
		compatible = "samsung,mipi-phy-m4s4-top";
		samsung,pmu-syscon = <67>;
		isolation = <1804>;
		owner = <0>;
		#phy-cells = <1>;
		linux,phandle = <72>;
		phandle = <72>;
	};

	dsim@369623040 {
		compatible = "samsung,exynos9-dsim";
		reg = <0 369623040 256 0 370540544 16384>;
		interrupts = <0 189 0>;
		iommus = <69 70 71>;
		clock-names = "aclk";
		clocks = <26 850>;
		phys = <72 0>;
		phy-names = "dsim_dphy";
		samsung,power-domain = <13>;
		lcd_info = <73>;
		gpios = <74 4 1>;
		linux,phandle = <259>;
		phandle = <259>;
	};

	displayport_phy@110A0000 {
		compatible = "samsung,displayport-phy";
		samsung,pmu-syscon = <67>;
		isolation = <1796>;
		#phy-cells = <1>;
		linux,phandle = <75>;
		phandle = <75>;
	};

	displayport@285802496 {
		compatible = "samsung,exynos-displayport";
		reg = <0 285802496 65535>;
		interrupts = <0 248 0>;
		iommus = <69 70 71>;
		clock-names = "aclk";
		clocks = <26 850>;
		phys = <75 0>;
		phy-names = "displayport_phy";
		samsung,power-domain = <13>;
		dp,aux_sw_oe = <76 4 0>;
		dp,sbu_sw_sel = <76 1 0>;
		dp,usb_con_sel = <77 4 0>;
		pinctrl-names = "default";
		pinctrl-0 = <&sensorhub_mosi_sck_ssn &sensorhub_miso>;

		num-cs = <1>;
		status = "okay";
	/*
	 *	dma-mode;
	 *	dmas = <&pdma0 21 0
	 *		&pdma0 20 0>;
	 */
		BCM4773@0 {
			compatible = "ssp,BCM4773";
			reg = <0>;
			/* spi-max-frequency = <26000000>; */
			spi-max-frequency = <25000000>;
			spi-cpol;
			spi-cpha;
			pinctrl-names = "default";
			pinctrl-0 = <&ssp_host_req &ssp_mcu_req &ssp_mcu_resp &ssp_batch_wake_irq &ssp_shub_int>;

			gpio-controller;
			#gpio-cells = <2>;
			ssp-host-req = <&gpa1 7 0x00>;
			ssp-mcu-req = <&gph0 5 0x00>;
			ssp-mcu-resp = <&gph0 4 0x00>;
			ssp-batch-wake-irq = <&gpa0 5 0x00>;
			ssp-shub-int = <&gpa4 0 0x00>;
			ssp-acc-position = <6>;
			ssp-mag-position = <6>;
			ssp-sns-combination = <0>;
			ssp-ap-rev = <1>;
			ssp-mag-array = /bits/ 8 <31 85 85 55 73 174 0 176 215 55 227 67 5 63 1 138 244 26 20 97
						187 255 117 255 12 49 134>;
			ssp-thermi-up = /bits/ 16 <3033 3003 2968 2922 2865 2794 2704 2614 2503 2382 2243 2090 1935
						1770 1612 1454 1301 1157 1020 899 800 691 611>;
			ssp-thermi-sub = /bits/ 16 <3033 3003 2968 2922 2865 2794 2704 2614 2503 2382 2243 2090 1935
						1770 1612 1454 1301 1157 1020 899 800 691 611>;
			ssp-glass-type = <0>;
			ssp-mag-type = <1>;
			ssp-vdd-mcu-1p8 = "vdd_mcu_1p8";

			controller-data {
				cs-gpio = <&gph0 3 0>;
				samsung,spi-feedback-delay = <0>;
			};
		};
	};

	pinctrl@10430000 {
		ssp_gps_pwr_en: ssp-gps-pwr-en {
			samsung,pins = "gpg0-2";
			samsung,pin-function = <1>;
			samsung,pin-pud = <1>;
			samsung,pin-drv = <3>;
			samsung,pin-con-pdn = <3>;
			samsung,pin-pud-pdn = <0>;
		};
	};

	gps {
		compatible = "samsung,exynos54xx-bcm4753";

		pinctrl-names = "hub_en";
		pinctrl-0 = <&ssp_gps_pwr_en>;

		gpios = <&gpg0 2 0x0>;
		status = "okay";
	};

	speedy@141C0000 {
		status = "okay";
		s2mps18mfd@00 {
			regulators {
				ldo37_reg: LDO37 {
					regulator-name = "vdd_mcu_1p8";
					regulator-min-microvolt = <1800000>;
					regulator-max-microvolt = <1800000>;
				};
			};
		};
	};

	pinctrl@14050000 {
		bt_hostwake: bt-hostwake {
			samsung,pins = "gpa2-3";
			samsung,pin-function = <0>;
			samsung,pin-pud = <0>;
		};
	};

	pinctrl@10430000 {
		bt_btwake: bt-btwake {
			samsung,pins = "gpg2-0";
			samsung,pin-function = <1>;
			samsung,pin-pud = <0>;
			samsung,pin-con-pdn = <3>;
			samsung,pin-pud-pdn = <0>;
		};
	};

	bluetooth {
		compatible = "samsung,bcm43xx";

		gpios = <&expander_gpios 7 0    /*BT_EN*/
			&gpg2 0 0    /*BT_WAKE*/
			&gpa2 3 0xF    /*BT_HOST_WAKE*/ >;
		pinctrl-names = "default";
		pinctrl-0=<&bt_hostwake &bt_btwake>;
		status = "okay";
	};

	hsi2c@10920000 {
		s2mpb02_pmic@59 {
			regulators {
				_ldo17_reg: s2mpb02-ldo17 {
					regulator-name = "VDD_GRIP_1P8";
					regulator-min-microvolt = <1800000>;
					regulator-max-microvolt = <1800000>;
					regulator-always-on;
					regulator-boot-on;
				};
			};
		};
	};

	dwmmc2@11500000 {
		ssc-rate = <3>;
	};

	pinctrl@11430000 {
		sd2_cmd: sd2-cmd {
			samsung,pins = "gpf1-1";
			samsung,pin-function = <2>;
			samsung,pin-pud = <0>;
			samsung,pin-drv = <3>;
		};

		sd2_bus1: sd2-bus-width1 {
			samsung,pins = "gpf1-2";
			samsung,pin-function = <2>;
			samsung,pin-pud = <0>;
			samsung,pin-drv = <3>;
		};

		sd2_bus4: sd2-bus-width4 {
			samsung,pins = "gpf1-3", "gpf1-4", "gpf1-5";
			samsung,pin-function = <2>;
			samsung,pin-pud = <0>;
			samsung,pin-drv = <3>;
		};
	};
};
